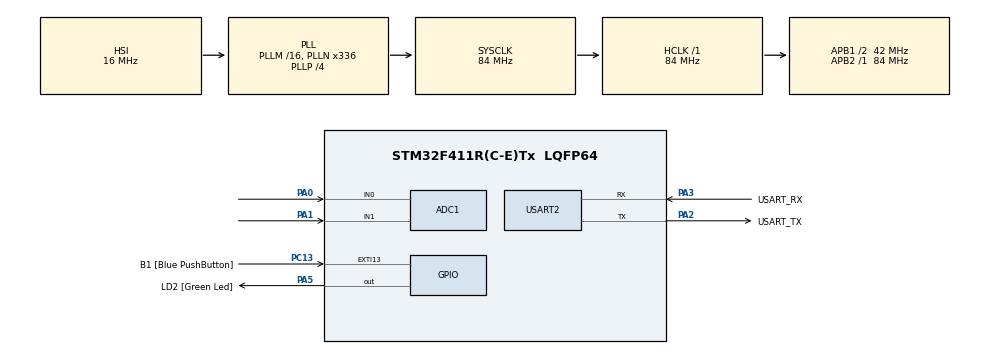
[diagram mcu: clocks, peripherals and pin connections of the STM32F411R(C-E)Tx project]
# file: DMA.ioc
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ADC1.Channel-4\#ChannelRegularConversion=ADC_CHANNEL_1
ADC1.Channel-5\#ChannelRegularConversion=ADC_CHANNEL_TEMPSENSOR
ADC1.Channel-6\#ChannelRegularConversion=ADC_CHANNEL_VREFINT
ADC1.ContinuousConvMode=ENABLE
ADC1.DMAContinuousRequests=ENABLE
ADC1.NbrOfConversion=4
ADC1.NbrOfConversionFlag=1
ADC1.Rank-4\#ChannelRegularConversion=2
ADC1.Rank-5\#ChannelRegularConversion=3
ADC1.Rank-6\#ChannelRegularConversion=4
ADC1.SamplingTime-0\#ChannelRegularConversion=ADC_SAMPLETIME_15CYCLES
ADC1.SamplingTime-4\#ChannelRegularConversion=ADC_SAMPLETIME_15CYCLES
ADC1.SamplingTime-5\#ChannelRegularConversion=ADC_SAMPLETIME_15CYCLES
ADC1.SamplingTime-6\#ChannelRegularConversion=ADC_SAMPLETIME_15CYCLES
ADC1.ScanConvMode=ENABLE
ADC1.master=1
Dma.ADC1.0.Direction=DMA_PERIPH_TO_MEMORY
Dma.ADC1.0.FIFOMode=DMA_FIFOMODE_DISABLE
Dma.ADC1.0.Instance=DMA2_Stream0
Dma.ADC1.0.MemDataAlignment=DMA_MDATAALIGN_WORD
Dma.ADC1.0.MemInc=DMA_MINC_ENABLE
Dma.ADC1.0.Mode=DMA_CIRCULAR
Dma.ADC1.0.PeriphDataAlignment=DMA_PDATAALIGN_WORD
Dma.ADC1.0.PeriphInc=DMA_PINC_DISABLE
Dma.ADC1.0.Priority=DMA_PRIORITY_LOW
Dma.Request0=ADC1
Mcu.Family=STM32F4
Mcu.Name=STM32F411R(C-E)Tx
Mcu.Package=LQFP64
NVIC.ADC_IRQn=true\:0\:0\:false\:false\:true\:true\:true
NVIC.DMA2_Stream0_IRQn=true\:0\:0\:false\:false\:true\:false\:true
NVIC.EXTI15_10_IRQn=true\:0\:0\:false\:false\:true\:true\:true
NVIC.PriorityGroup=NVIC_PRIORITYGROUP_0
PA0-WKUP.Signal=ADCx_IN0
PA1.Signal=ADCx_IN1
PA13.GPIO_Label=TMS
PA13.Mode=Serial_Wire
PA13.Signal=SYS_JTMS-SWDIO
PA14.GPIO_Label=TCK
PA14.Mode=Serial_Wire
PA14.Signal=SYS_JTCK-SWCLK
PA2.GPIO_Label=USART_TX
PA2.Mode=Asynchronous
PA2.Signal=USART2_TX
PA3.GPIO_Label=USART_RX
PA3.Mode=Asynchronous
PA3.Signal=USART2_RX
PA5.GPIO_Label=LD2 [Green Led]
PA5.Signal=GPIO_Output
PB3.GPIO_Label=SWO
PB3.Signal=SYS_JTDO-SWO
PC13-ANTI_TAMP.GPIO_Label=B1 [Blue PushButton]
PC13-ANTI_TAMP.GPIO_ModeDefaultEXTI=GPIO_MODE_IT_RISING_FALLING
PC13-ANTI_TAMP.GPIO_PuPd=GPIO_PULLUP
PC13-ANTI_TAMP.Signal=GPXTI13
PC14-OSC32_IN.Mode=LSE-External-Oscillator
PC14-OSC32_IN.Signal=RCC_OSC32_IN
PC15-OSC32_OUT.Mode=LSE-External-Oscillator
PC15-OSC32_OUT.Signal=RCC_OSC32_OUT
PH0\ -\ OSC_IN.Mode=HSE-External-Clock-Source
PH0\ -\ OSC_IN.Signal=RCC_OSC_IN
PH1\ -\ OSC_OUT.Mode=HSE-External-Clock-Source
PH1\ -\ OSC_OUT.Signal=RCC_OSC_OUT
ProjectManager.HeapSize=0x200
ProjectManager.StackSize=0x400
ProjectManager.TargetToolchain=STM32CubeIDE
RCC.48MHZClocksFreq_Value=84000000
RCC.AHBFreq_Value=84000000
RCC.APB1CLKDivider=RCC_HCLK_DIV2
RCC.APB1Freq_Value=42000000
RCC.APB1TimFreq_Value=84000000
RCC.APB2Freq_Value=84000000
RCC.APB2TimFreq_Value=84000000
RCC.CortexFreq_Value=84000000
RCC.FLatency-AdvancedSettings=FLASH_LATENCY_2
RCC.HCLKFreq_Value=84000000
RCC.HSE_VALUE=8000000
RCC.HSI_VALUE=16000000
RCC.PLLN=336
RCC.PLLP=RCC_PLLP_DIV4
RCC.SYSCLKFreq_VALUE=84000000
RCC.SYSCLKSource=RCC_SYSCLKSOURCE_PLLCLK
RCC.VCOOutputFreq_Value=336000000
SH.ADCx_IN0.0=ADC1_IN0,IN0
SH.ADCx_IN1.0=ADC1_IN1,IN1
USART2.VirtualMode=VM_ASYNC
VP_ADC1_TempSens_Input.Mode=IN-TempSens
VP_ADC1_Vref_Input.Mode=IN-Vrefint
board=NUCLEO-F411RE

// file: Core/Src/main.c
/* USER CODE BEGIN Header */
/**
  ******************************************************************************
  * @file           : main.c
  * @brief          : Main program body
  ******************************************************************************
  * @attention
  *
  * Copyright (c) 2022 STMicroelectronics.
  * All rights reserved.
  *
  * This software is licensed under terms that can be found in the LICENSE file
  * in the root directory of this software component.
  * If no LICENSE file comes with this software, it is provided AS-IS.
  *
  ******************************************************************************
  */
/* USER CODE END Header */
#include "main.h"

ADC_HandleTypeDef hadc1;
DMA_HandleTypeDef hdma_adc1;

UART_HandleTypeDef huart2;

/* USER CODE BEGIN PV */
uint32_t ADCData[4]={0};
static uint32_t timestamp = 0 , timecount=0 , plauseTime=0 , timeLedOn = 0;
static uint32_t humanDelay = 0;
static uint8_t Ledon = 1 ;
static GPIO_PinState BSTATE = 0;
/* USER CODE END PV */

void SystemClock_Config(void);
static void MX_GPIO_Init(void);
static void MX_USART2_UART_Init(void);
static void MX_DMA_Init(void);
static void MX_ADC1_Init(void);

int main(void)
{

  /* MCU Configuration--------------------------------------------------------*/

  /* Reset of all peripherals, Initializes the Flash interface and the Systick. */
  HAL_Init();

  /* Configure the system clock */
  SystemClock_Config();

  /* Initialize all configured peripherals */
  MX_GPIO_Init();
  MX_USART2_UART_Init();
  MX_DMA_Init();
  MX_ADC1_Init();
  /* USER CODE BEGIN 2 */
 HAL_ADC_Start_DMA(&hadc1, ADCData, 4);
  HAL_GPIO_WritePin(LD2_GPIO_Port, LD2_Pin, GPIO_PIN_SET);
  /* USER CODE END 2 */

  /* Infinite loop */
  /* USER CODE BEGIN WHILE */
  while (1)
  {
	  BSTATE = HAL_GPIO_ReadPin(GPIOC, GPIO_PIN_13);
	  timestamp = HAL_GetTick();
	  if (HAL_GetTick() - timecount < plauseTime && HAL_GPIO_ReadPin(GPIOC, GPIO_PIN_13) == GPIO_PIN_RESET)
	  {
		  HAL_GPIO_WritePin(LD2_GPIO_Port, LD2_Pin, GPIO_PIN_RESET);
	  }
	  else if(HAL_GetTick() - timecount >= plauseTime && HAL_GPIO_ReadPin(GPIOC, GPIO_PIN_13) == GPIO_PIN_RESET && Ledon == 1)
	  {
		  HAL_GPIO_WritePin(LD2_GPIO_Port, LD2_Pin, GPIO_PIN_SET);
		  timeLedOn = HAL_GetTick();
		  Ledon = 0;
	  }
	  else
	  {
		  HAL_GPIO_WritePin(LD2_GPIO_Port, LD2_Pin, GPIO_PIN_SET);
	  }
    /* USER CODE END WHILE */

  }
}

void SystemClock_Config(void)
{
  RCC_OscInitTypeDef RCC_OscInitStruct = {0};
  RCC_ClkInitTypeDef RCC_ClkInitStruct = {0};

  /** Configure the main internal regulator output voltage
  */
  __HAL_RCC_PWR_CLK_ENABLE();
  __HAL_PWR_VOLTAGESCALING_CONFIG(PWR_REGULATOR_VOLTAGE_SCALE1);
  /** Initializes the RCC Oscillators according to the specified parameters
  * in the RCC_OscInitTypeDef structure.
  */
  RCC_OscInitStruct.OscillatorType = RCC_OSCILLATORTYPE_HSI;
  RCC_OscInitStruct.HSIState = RCC_HSI_ON;
  RCC_OscInitStruct.HSICalibrationValue = RCC_HSICALIBRATION_DEFAULT;
  RCC_OscInitStruct.PLL.PLLState = RCC_PLL_ON;
  RCC_OscInitStruct.PLL.PLLSource = RCC_PLLSOURCE_HSI;
  RCC_OscInitStruct.PLL.PLLM = 16;
  RCC_OscInitStruct.PLL.PLLN = 336;
  RCC_OscInitStruct.PLL.PLLP = RCC_PLLP_DIV4;
  RCC_OscInitStruct.PLL.PLLQ = 4;
  if (HAL_RCC_OscConfig(&RCC_OscInitStruct) != HAL_OK)
  {
    Error_Handler();
  }
  /** Initializes the CPU, AHB and APB buses clocks
  */
  RCC_ClkInitStruct.ClockType = RCC_CLOCKTYPE_HCLK|RCC_CLOCKTYPE_SYSCLK
                              |RCC_CLOCKTYPE_PCLK1|RCC_CLOCKTYPE_PCLK2;
  RCC_ClkInitStruct.SYSCLKSource = RCC_SYSCLKSOURCE_PLLCLK;
  RCC_ClkInitStruct.AHBCLKDivider = RCC_SYSCLK_DIV1;
  RCC_ClkInitStruct.APB1CLKDivider = RCC_HCLK_DIV2;
  RCC_ClkInitStruct.APB2CLKDivider = RCC_HCLK_DIV1;

  if (HAL_RCC_ClockConfig(&RCC_ClkInitStruct, FLASH_LATENCY_2) != HAL_OK)
  {
    Error_Handler();
  }
}

static void MX_ADC1_Init(void)
{

  ADC_ChannelConfTypeDef sConfig = {0};

  /** Configure the global features of the ADC (Clock, Resolution, Data Alignment and number of conversion)
  */
  hadc1.Instance = ADC1;
  hadc1.Init.ClockPrescaler = ADC_CLOCK_SYNC_PCLK_DIV4;
  hadc1.Init.Resolution = ADC_RESOLUTION_12B;
  hadc1.Init.ScanConvMode = ENABLE;
  hadc1.Init.ContinuousConvMode = ENABLE;
  hadc1.Init.DiscontinuousConvMode = DISABLE;
  hadc1.Init.ExternalTrigConvEdge = ADC_EXTERNALTRIGCONVEDGE_NONE;
  hadc1.Init.ExternalTrigConv = ADC_SOFTWARE_START;
  hadc1.Init.DataAlign = ADC_DATAALIGN_RIGHT;
  hadc1.Init.NbrOfConversion = 4;
  hadc1.Init.DMAContinuousRequests = ENABLE;
  hadc1.Init.EOCSelection = ADC_EOC_SINGLE_CONV;
  if (HAL_ADC_Init(&hadc1) != HAL_OK)
  {
    Error_Handler();
  }
  /** Configure for the selected ADC regular channel its corresponding rank in the sequencer and its sample time.
  */
  sConfig.Channel = ADC_CHANNEL_1;
  sConfig.Rank = 2;
  sConfig.SamplingTime = ADC_SAMPLETIME_480CYCLES;
  if (HAL_ADC_ConfigChannel(&hadc1, &sConfig) != HAL_OK)
  {
    Error_Handler();
  }
  /** Configure for the selected ADC regular channel its corresponding rank in the sequencer and its sample time.
  */
  sConfig.Channel = ADC_CHANNEL_TEMPSENSOR;
  sConfig.Rank = 3;
  if (HAL_ADC_ConfigChannel(&hadc1, &sConfig) != HAL_OK)
  {
    Error_Handler();
  }
  /** Configure for the selected ADC regular channel its corresponding rank in the sequencer and its sample time.
  */
  sConfig.Channel = ADC_CHANNEL_VREFINT;
  sConfig.Rank = 4;
  if (HAL_ADC_ConfigChannel(&hadc1, &sConfig) != HAL_OK)
  {
    Error_Handler();
  }
  /** Configure for the selected ADC regular channel its corresponding rank in the sequencer and its sample time.
  */
  sConfig.Channel = ADC_CHANNEL_0;
  sConfig.Rank = 1;
  if (HAL_ADC_ConfigChannel(&hadc1, &sConfig) != HAL_OK)
  {
    Error_Handler();
  }

}

static void MX_USART2_UART_Init(void)
{

  huart2.Instance = USART2;
  huart2.Init.BaudRate = 115200;
  huart2.Init.WordLength = UART_WORDLENGTH_8B;
  huart2.Init.StopBits = UART_STOPBITS_1;
  huart2.Init.Parity = UART_PARITY_NONE;
  huart2.Init.Mode = UART_MODE_TX_RX;
  huart2.Init.HwFlowCtl = UART_HWCONTROL_NONE;
  huart2.Init.OverSampling = UART_OVERSAMPLING_16;
  if (HAL_UART_Init(&huart2) != HAL_OK)
  {
    Error_Handler();
  }

}

static void MX_DMA_Init(void)
{

  /* DMA controller clock enable */
  __HAL_RCC_DMA2_CLK_ENABLE();

  /* DMA interrupt init */
  /* DMA2_Stream0_IRQn interrupt configuration */
  HAL_NVIC_SetPriority(DMA2_Stream0_IRQn, 0, 0);
  HAL_NVIC_EnableIRQ(DMA2_Stream0_IRQn);

}

static void MX_GPIO_Init(void)
{
  GPIO_InitTypeDef GPIO_InitStruct = {0};

  /* GPIO Ports Clock Enable */
  __HAL_RCC_GPIOC_CLK_ENABLE();
  __HAL_RCC_GPIOH_CLK_ENABLE();
  __HAL_RCC_GPIOA_CLK_ENABLE();
  __HAL_RCC_GPIOB_CLK_ENABLE();

  /*Configure GPIO pin Output Level */
  HAL_GPIO_WritePin(LD2_GPIO_Port, LD2_Pin, GPIO_PIN_RESET);

  /*Configure GPIO pin : B1_Pin */
  GPIO_InitStruct.Pin = B1_Pin;
  GPIO_InitStruct.Mode = GPIO_MODE_IT_RISING_FALLING;
  GPIO_InitStruct.Pull = GPIO_PULLUP;
  HAL_GPIO_Init(B1_GPIO_Port, &GPIO_InitStruct);

  /*Configure GPIO pin : LD2_Pin */
  GPIO_InitStruct.Pin = LD2_Pin;
  GPIO_InitStruct.Mode = GPIO_MODE_OUTPUT_PP;
  GPIO_InitStruct.Pull = GPIO_NOPULL;
  GPIO_InitStruct.Speed = GPIO_SPEED_FREQ_LOW;
  HAL_GPIO_Init(LD2_GPIO_Port, &GPIO_InitStruct);

  /* EXTI interrupt init*/
  HAL_NVIC_SetPriority(EXTI15_10_IRQn, 0, 0);
  HAL_NVIC_EnableIRQ(EXTI15_10_IRQn);

}

/* USER CODE BEGIN 4 */
void HAL_GPIO_EXTI_Callback(uint16_t GPIO_Pin)
{
	if(GPIO_Pin == GPIO_PIN_13)
	{
		if (HAL_GPIO_ReadPin(GPIOC, GPIO_PIN_13) == GPIO_PIN_RESET)
		{
			plauseTime = 1000+((22695477*ADCData[0])+ADCData[1])%1000;
			timecount = HAL_GetTick();
		}
		else if (HAL_GPIO_ReadPin(GPIOC, GPIO_PIN_13) == GPIO_PIN_SET)
		{
			humanDelay = HAL_GetTick()- timeLedOn;
			Ledon = 1;
		}
	}
}
/* USER CODE END 4 */

void Error_Handler(void)
{
  __disable_irq();
  while (1)
  {
  }
}
